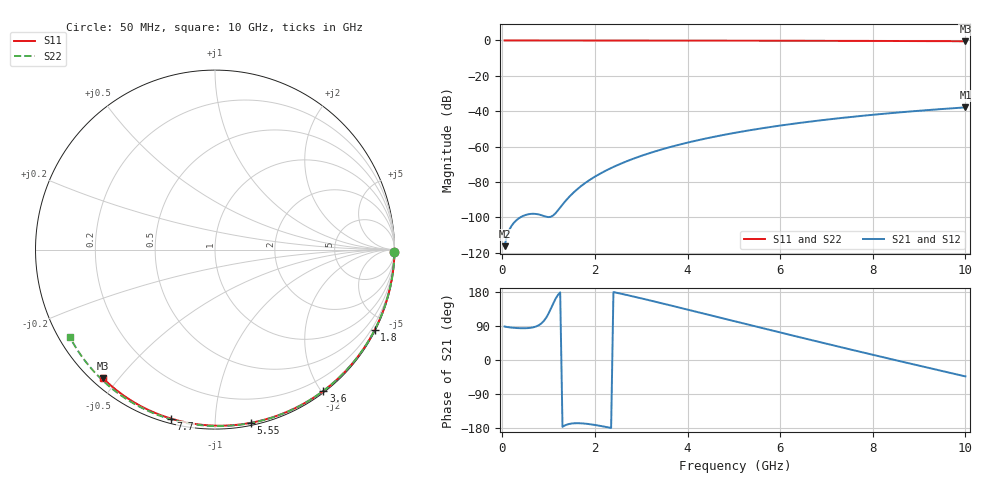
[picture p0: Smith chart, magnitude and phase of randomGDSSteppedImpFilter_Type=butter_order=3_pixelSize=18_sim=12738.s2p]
! freq	dB(S11)	phase(S11)	dB(S12)	phase(S12)
!  dB(S21)	phase(S21)	dB(S22)	phase(S22)
!S-par simulation data
#  GHz  S  DB  R 50
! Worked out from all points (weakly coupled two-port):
!   200 points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, 50 MHz to 10 GHz, reference 50 ohm
!   highest |S21| = -37.85 dB at 10 GHz (marker M1); lowest = -116.3 dB at 50 MHz (marker M2)
!   lowest |S11| = -0.4 dB at 10 GHz (marker M3), VSWR 39.16, Z = 1.54 - j22.8 ohm
!   |S11| at or under -10 dB: nowhere
!   |S22| runs from -0.5 to 0.0 dB; largest |S21 - S12| = 0
!   S11 on the Smith chart (normalised r, x): 50 MHz: open; 1.8 GHz: 0.04, -4.19; 3.6 GHz: 0.02, -2.03; 5.55 GHz: 0.02, -1.23; 7.7 GHz: 0.02, -0.77; 10 GHz: 0.03, -0.46
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0.05  -0.00 -0.8  -116.33 88.4  -116.33 88.4  -0.00 -0.9
0.45  -0.01 -6.8  -99.21 83.8  -99.21 83.8  -0.01 -7.8
0.9  -0.02 -13.5  -99.28 103.5  -99.28 103.5  -0.02 -15.5
1.3  -0.02 -19.5  -92.80 -176.4  -92.80 -176.4  -0.03 -22.2
1.75  -0.03 -26.1  -81.38 -167.5  -81.38 -167.5  -0.04 -29.8
1.8  -0.03 -26.8  -80.42 -168.1  -80.42 -168.1  -0.04 -30.6
1.85  -0.04 -27.6  -79.52 -168.8  -79.52 -168.8  -0.04 -31.5
2.05  -0.04 -30.5  -76.24 -172.4  -76.24 -172.4  -0.04 -34.8
2.2  -0.04 -32.7  -74.09 -175.8  -74.09 -175.8  -0.05 -37.2
2.55  -0.05 -37.7  -69.78 175.3  -69.78 175.3  -0.05 -43.0
2.95  -0.06 -43.4  -65.73 164.2  -65.73 164.2  -0.06 -49.4
3.4  -0.07 -49.7  -61.94 151.0  -61.94 151.0  -0.07 -56.6
3.6  -0.07 -52.5  -60.45 145.1  -60.45 145.1  -0.08 -59.7
4.3  -0.09 -62.0  -55.98 124.0  -55.98 124.0  -0.10 -70.5
5.05  -0.11 -72.0  -52.10 101.3  -52.10 101.3  -0.12 -81.6
5.55  -0.13 -78.4  -49.90 86.2  -49.90 86.2  -0.15 -88.9
6.1  -0.15 -85.3  -47.76 69.7  -47.76 69.7  -0.17 -96.7
6.7  -0.18 -92.7  -45.71 51.8  -45.71 51.8  -0.20 -105.0
7.7  -0.24 -104.7  -42.80 22.5  -42.80 22.5  -0.27 -118.5
8.35  -0.29 -112.3  -41.19 3.7  -41.19 3.7  -0.33 -127.2
9.2  -0.36 -122.0  -39.34 -20.6  -39.34 -20.6  -0.41 -138.4
10  -0.44 -131.0  -37.85 -43.3  -37.85 -43.3  -0.50 -149.0
